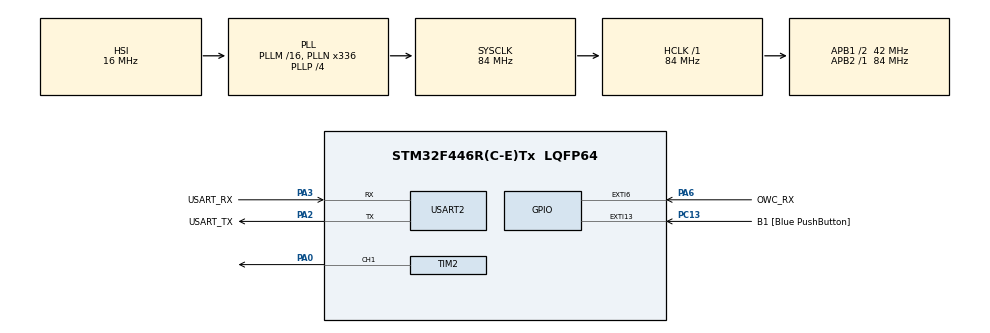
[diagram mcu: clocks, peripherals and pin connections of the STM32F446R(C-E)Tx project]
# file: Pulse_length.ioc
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Mcu.Family=STM32F4
Mcu.Name=STM32F446R(C-E)Tx
Mcu.Package=LQFP64
NVIC.EXTI9_5_IRQn=true\:0\:0\:false\:false\:true\:true\:true\:true
NVIC.PriorityGroup=NVIC_PRIORITYGROUP_0
NVIC.TIM4_IRQn=true\:0\:0\:false\:false\:true\:true\:true\:true
NVIC.TIM6_DAC_IRQn=true\:0\:0\:false\:false\:true\:true\:true\:true
PA0-WKUP.Signal=S_TIM2_CH1_ETR
PA13.GPIO_Label=TMS
PA13.Mode=Serial_Wire
PA13.Signal=SYS_JTMS-SWDIO
PA14.GPIO_Label=TCK
PA14.Mode=Serial_Wire
PA14.Signal=SYS_JTCK-SWCLK
PA2.GPIO_Label=USART_TX
PA2.Mode=Asynchronous
PA2.Signal=USART2_TX
PA3.GPIO_Label=USART_RX
PA3.Mode=Asynchronous
PA3.Signal=USART2_RX
PA6.GPIO_Label=OWC_RX
PA6.GPIO_ModeDefaultEXTI=GPIO_MODE_IT_RISING_FALLING
PA6.GPIO_PuPd=GPIO_PULLUP
PA6.Signal=GPXTI6
PB3.GPIO_Label=SWO
PB3.Signal=SYS_JTDO-SWO
PC13.GPIO_Label=B1 [Blue PushButton]
PC13.GPIO_ModeDefaultEXTI=GPIO_MODE_IT_FALLING
PC13.Signal=GPXTI13
PC14-OSC32_IN.Mode=LSE-External-Oscillator
PC14-OSC32_IN.Signal=RCC_OSC32_IN
PC15-OSC32_OUT.Mode=LSE-External-Oscillator
PC15-OSC32_OUT.Signal=RCC_OSC32_OUT
PH0-OSC_IN.Mode=HSE-External-Oscillator
PH0-OSC_IN.Signal=RCC_OSC_IN
PH1-OSC_OUT.Mode=HSE-External-Oscillator
PH1-OSC_OUT.Signal=RCC_OSC_OUT
ProjectManager.HeapSize=0x200
ProjectManager.StackSize=0x400
ProjectManager.TargetToolchain=STM32CubeIDE
RCC.48MHZClocksFreq_Value=84000000
RCC.AHBFreq_Value=84000000
RCC.APB1CLKDivider=RCC_HCLK_DIV2
RCC.APB1Freq_Value=42000000
RCC.APB1TimFreq_Value=84000000
RCC.APB2Freq_Value=84000000
RCC.APB2TimFreq_Value=84000000
RCC.CortexFreq_Value=84000000
RCC.FLatency-AdvancedSettings=FLASH_LATENCY_2
RCC.HCLKFreq_Value=84000000
RCC.HSE_VALUE=8000000
RCC.HSI_VALUE=16000000
RCC.PLLN=336
RCC.PLLP=RCC_PLLP_DIV4
RCC.SYSCLKFreq_VALUE=84000000
RCC.SYSCLKSource=RCC_SYSCLKSOURCE_PLLCLK
RCC.USBFreq_Value=168000000
RCC.VCOOutputFreq_Value=336000000
SH.S_TIM2_CH1_ETR.0=TIM2_CH1,PWM Generation1 CH1
TIM2.Channel-PWM\ Generation1\ CH1=TIM_CHANNEL_1
TIM2.Period=1462 - 1
TIM2.Pulse-PWM\ Generation1\ CH1=146
TIM3.Prescaler=84 - 1
TIM4.Prescaler=84 - 1
TIM6.Period=650
TIM6.Prescaler=84 - 1
USART2.VirtualMode=VM_ASYNC
VP_TIM2_VS_ClockSourceINT.Mode=Internal
VP_TIM3_VS_ClockSourceINT.Mode=Internal
VP_TIM4_VS_ClockSourceINT.Mode=Internal
VP_TIM6_VS_ClockSourceINT.Mode=Enable_Timer
board=NUCLEO-F446RE

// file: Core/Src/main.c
/* USER CODE BEGIN Header */
/**
  ******************************************************************************
  * @file           : main.c
  * @brief          : Main program body
  ******************************************************************************
  * @attention
  *
  * Copyright (c) 2025 STMicroelectronics.
  * All rights reserved.
  *
  * This software is licensed under terms that can be found in the LICENSE file
  * in the root directory of this software component.
  * If no LICENSE file comes with this software, it is provided AS-IS.
  *
  ******************************************************************************
  */
/* USER CODE END Header */
#include "main.h"

/* USER CODE BEGIN Includes */
#include <stdio.h>
#include <stdbool.h>
#include <string.h>
/* USER CODE END Includes */

/* USER CODE BEGIN PTD */
typedef enum{
	STOP_PULSE,
	BIT_PULSE,
	BIT_GAP,
	END_OF_TRANSMISSION
} TX_STATE;

typedef enum{
	RECEIVING,
	TRANSMITTING,
	IDLE,
} OWC_STATE;

typedef struct{
	uint8_t head;
	uint8_t tail;
	uint16_t items[64];
} Queue;
/* USER CODE END PTD */

TIM_HandleTypeDef htim2;
TIM_HandleTypeDef htim3;
TIM_HandleTypeDef htim4;
TIM_HandleTypeDef htim6;

UART_HandleTypeDef huart2;

/* USER CODE BEGIN PV */

static volatile OWC_STATE systemStatus = IDLE;

// ISR variables
static volatile uint8_t triggerCount = 0;
static volatile uint16_t lastTriggerTime = 0;
// RX data variables
static volatile uint8_t rxDataBuffer[280] = {0};
static volatile uint16_t rxDataIndex = 0;
static volatile uint8_t rxBitIndex = 0;
static volatile Queue signalBuffer;
static uint16_t currentSignal;
// TX data variables
static volatile TX_STATE txStatus;
static uint8_t txDataBuffer[280];
static uint16_t txDataLength = 0;
static volatile bool txDataBit = 0;
static volatile uint8_t txBitIndex = 0;
static volatile uint16_t txDataIndex = 0;
static volatile uint16_t txGapLength;

/* USER CODE END PV */

void SystemClock_Config(void);
static void MX_GPIO_Init(void);
static void MX_USART2_UART_Init(void);
static void MX_TIM2_Init(void);
static void MX_TIM3_Init(void);
static void MX_TIM4_Init(void);
static void MX_TIM6_Init(void);
/* USER CODE BEGIN PFP */
static void enqueue_signal(uint16_t);
static void process_signals();
static void owc_transmit(uint8_t* data, uint8_t size);
void reset_rx_state();
/* USER CODE END PFP */

int main(void)
{

  /* USER CODE BEGIN 1 */
	char* msg = "The two CANs are compliant with the 2.0A and B (active) specifications with a bitrate up to 1Mbit/s.";
  /* USER CODE END 1 */

  /* MCU Configuration--------------------------------------------------------*/

  /* Reset of all peripherals, Initializes the Flash interface and the Systick. */
  HAL_Init();

  /* Configure the system clock */
  SystemClock_Config();

  /* Initialize all configured peripherals */
  MX_GPIO_Init();
  MX_USART2_UART_Init();
  MX_TIM2_Init();
  MX_TIM3_Init();
  MX_TIM4_Init();
  MX_TIM6_Init();
  /* USER CODE BEGIN 2 */
  HAL_TIM_Base_Start(&htim3);
  /* USER CODE END 2 */

  /* Infinite loop */
  /* USER CODE BEGIN WHILE */
  while (1)
  {

	  if(systemStatus == RECEIVING){
		  process_signals();
	  }

//	  if(systemStatus != TRANSMITTING){
//		  HAL_Delay(1000);
//		  owc_transmit(msg, strlen(msg));
//	  }

    /* USER CODE END WHILE */

  }
}

void SystemClock_Config(void)
{
  RCC_OscInitTypeDef RCC_OscInitStruct = {0};
  RCC_ClkInitTypeDef RCC_ClkInitStruct = {0};

  /** Configure the main internal regulator output voltage
  */
  __HAL_RCC_PWR_CLK_ENABLE();
  __HAL_PWR_VOLTAGESCALING_CONFIG(PWR_REGULATOR_VOLTAGE_SCALE3);

  /** Initializes the RCC Oscillators according to the specified parameters
  * in the RCC_OscInitTypeDef structure.
  */
  RCC_OscInitStruct.OscillatorType = RCC_OSCILLATORTYPE_HSI;
  RCC_OscInitStruct.HSIState = RCC_HSI_ON;
  RCC_OscInitStruct.HSICalibrationValue = RCC_HSICALIBRATION_DEFAULT;
  RCC_OscInitStruct.PLL.PLLState = RCC_PLL_ON;
  RCC_OscInitStruct.PLL.PLLSource = RCC_PLLSOURCE_HSI;
  RCC_OscInitStruct.PLL.PLLM = 16;
  RCC_OscInitStruct.PLL.PLLN = 336;
  RCC_OscInitStruct.PLL.PLLP = RCC_PLLP_DIV4;
  RCC_OscInitStruct.PLL.PLLQ = 2;
  RCC_OscInitStruct.PLL.PLLR = 2;
  if (HAL_RCC_OscConfig(&RCC_OscInitStruct) != HAL_OK)
  {
    Error_Handler();
  }

  /** Initializes the CPU, AHB and APB buses clocks
  */
  RCC_ClkInitStruct.ClockType = RCC_CLOCKTYPE_HCLK|RCC_CLOCKTYPE_SYSCLK
                              |RCC_CLOCKTYPE_PCLK1|RCC_CLOCKTYPE_PCLK2;
  RCC_ClkInitStruct.SYSCLKSource = RCC_SYSCLKSOURCE_PLLCLK;
  RCC_ClkInitStruct.AHBCLKDivider = RCC_SYSCLK_DIV1;
  RCC_ClkInitStruct.APB1CLKDivider = RCC_HCLK_DIV2;
  RCC_ClkInitStruct.APB2CLKDivider = RCC_HCLK_DIV1;

  if (HAL_RCC_ClockConfig(&RCC_ClkInitStruct, FLASH_LATENCY_2) != HAL_OK)
  {
    Error_Handler();
  }
}

static void MX_TIM2_Init(void)
{

  TIM_ClockConfigTypeDef sClockSourceConfig = {0};
  TIM_MasterConfigTypeDef sMasterConfig = {0};
  TIM_OC_InitTypeDef sConfigOC = {0};

  htim2.Instance = TIM2;
  htim2.Init.Prescaler = 0;
  htim2.Init.CounterMode = TIM_COUNTERMODE_UP;
  htim2.Init.Period = 1462 - 1;
  htim2.Init.ClockDivision = TIM_CLOCKDIVISION_DIV1;
  htim2.Init.AutoReloadPreload = TIM_AUTORELOAD_PRELOAD_DISABLE;
  if (HAL_TIM_Base_Init(&htim2) != HAL_OK)
  {
    Error_Handler();
  }
  sClockSourceConfig.ClockSource = TIM_CLOCKSOURCE_INTERNAL;
  if (HAL_TIM_ConfigClockSource(&htim2, &sClockSourceConfig) != HAL_OK)
  {
    Error_Handler();
  }
  if (HAL_TIM_PWM_Init(&htim2) != HAL_OK)
  {
    Error_Handler();
  }
  sMasterConfig.MasterOutputTrigger = TIM_TRGO_RESET;
  sMasterConfig.MasterSlaveMode = TIM_MASTERSLAVEMODE_DISABLE;
  if (HAL_TIMEx_MasterConfigSynchronization(&htim2, &sMasterConfig) != HAL_OK)
  {
    Error_Handler();
  }
  sConfigOC.OCMode = TIM_OCMODE_PWM1;
  sConfigOC.Pulse = 146;
  sConfigOC.OCPolarity = TIM_OCPOLARITY_HIGH;
  sConfigOC.OCFastMode = TIM_OCFAST_DISABLE;
  if (HAL_TIM_PWM_ConfigChannel(&htim2, &sConfigOC, TIM_CHANNEL_1) != HAL_OK)
  {
    Error_Handler();
  }
  HAL_TIM_MspPostInit(&htim2);

}

static void MX_TIM3_Init(void)
{

  TIM_ClockConfigTypeDef sClockSourceConfig = {0};
  TIM_MasterConfigTypeDef sMasterConfig = {0};

  htim3.Instance = TIM3;
  htim3.Init.Prescaler = 84 - 1;
  htim3.Init.CounterMode = TIM_COUNTERMODE_UP;
  htim3.Init.Period = 65535;
  htim3.Init.ClockDivision = TIM_CLOCKDIVISION_DIV1;
  htim3.Init.AutoReloadPreload = TIM_AUTORELOAD_PRELOAD_DISABLE;
  if (HAL_TIM_Base_Init(&htim3) != HAL_OK)
  {
    Error_Handler();
  }
  sClockSourceConfig.ClockSource = TIM_CLOCKSOURCE_INTERNAL;
  if (HAL_TIM_ConfigClockSource(&htim3, &sClockSourceConfig) != HAL_OK)
  {
    Error_Handler();
  }
  sMasterConfig.MasterOutputTrigger = TIM_TRGO_RESET;
  sMasterConfig.MasterSlaveMode = TIM_MASTERSLAVEMODE_DISABLE;
  if (HAL_TIMEx_MasterConfigSynchronization(&htim3, &sMasterConfig) != HAL_OK)
  {
    Error_Handler();
  }

}

static void MX_TIM4_Init(void)
{

  TIM_ClockConfigTypeDef sClockSourceConfig = {0};
  TIM_MasterConfigTypeDef sMasterConfig = {0};

  htim4.Instance = TIM4;
  htim4.Init.Prescaler = 84 - 1;
  htim4.Init.CounterMode = TIM_COUNTERMODE_UP;
  htim4.Init.Period = 65535;
  htim4.Init.ClockDivision = TIM_CLOCKDIVISION_DIV1;
  htim4.Init.AutoReloadPreload = TIM_AUTORELOAD_PRELOAD_DISABLE;
  if (HAL_TIM_Base_Init(&htim4) != HAL_OK)
  {
    Error_Handler();
  }
  sClockSourceConfig.ClockSource = TIM_CLOCKSOURCE_INTERNAL;
  if (HAL_TIM_ConfigClockSource(&htim4, &sClockSourceConfig) != HAL_OK)
  {
    Error_Handler();
  }
  sMasterConfig.MasterOutputTrigger = TIM_TRGO_RESET;
  sMasterConfig.MasterSlaveMode = TIM_MASTERSLAVEMODE_DISABLE;
  if (HAL_TIMEx_MasterConfigSynchronization(&htim4, &sMasterConfig) != HAL_OK)
  {
    Error_Handler();
  }

}

static void MX_TIM6_Init(void)
{

  TIM_MasterConfigTypeDef sMasterConfig = {0};

  htim6.Instance = TIM6;
  htim6.Init.Prescaler = 84 - 1;
  htim6.Init.CounterMode = TIM_COUNTERMODE_UP;
  htim6.Init.Period = 650;
  htim6.Init.AutoReloadPreload = TIM_AUTORELOAD_PRELOAD_DISABLE;
  if (HAL_TIM_Base_Init(&htim6) != HAL_OK)
  {
    Error_Handler();
  }
  sMasterConfig.MasterOutputTrigger = TIM_TRGO_RESET;
  sMasterConfig.MasterSlaveMode = TIM_MASTERSLAVEMODE_DISABLE;
  if (HAL_TIMEx_MasterConfigSynchronization(&htim6, &sMasterConfig) != HAL_OK)
  {
    Error_Handler();
  }

}

static void MX_USART2_UART_Init(void)
{

  huart2.Instance = USART2;
  huart2.Init.BaudRate = 115200;
  huart2.Init.WordLength = UART_WORDLENGTH_8B;
  huart2.Init.StopBits = UART_STOPBITS_1;
  huart2.Init.Parity = UART_PARITY_NONE;
  huart2.Init.Mode = UART_MODE_TX_RX;
  huart2.Init.HwFlowCtl = UART_HWCONTROL_NONE;
  huart2.Init.OverSampling = UART_OVERSAMPLING_16;
  if (HAL_UART_Init(&huart2) != HAL_OK)
  {
    Error_Handler();
  }

}

static void MX_GPIO_Init(void)
{
  GPIO_InitTypeDef GPIO_InitStruct = {0};

  /* GPIO Ports Clock Enable */
  __HAL_RCC_GPIOC_CLK_ENABLE();
  __HAL_RCC_GPIOH_CLK_ENABLE();
  __HAL_RCC_GPIOA_CLK_ENABLE();
  __HAL_RCC_GPIOB_CLK_ENABLE();

  /*Configure GPIO pin : B1_Pin */
  GPIO_InitStruct.Pin = B1_Pin;
  GPIO_InitStruct.Mode = GPIO_MODE_IT_FALLING;
  GPIO_InitStruct.Pull = GPIO_NOPULL;
  HAL_GPIO_Init(B1_GPIO_Port, &GPIO_InitStruct);

  /*Configure GPIO pin : OWC_RX_Pin */
  GPIO_InitStruct.Pin = OWC_RX_Pin;
  GPIO_InitStruct.Mode = GPIO_MODE_IT_RISING_FALLING;
  GPIO_InitStruct.Pull = GPIO_PULLUP;
  HAL_GPIO_Init(OWC_RX_GPIO_Port, &GPIO_InitStruct);

  /* EXTI interrupt init*/
  HAL_NVIC_SetPriority(EXTI9_5_IRQn, 0, 0);
  HAL_NVIC_EnableIRQ(EXTI9_5_IRQn);

}

/* USER CODE BEGIN 4 */

static void owc_transmit(uint8_t* data, uint8_t size){

	systemStatus = TRANSMITTING;
	memcpy(txDataBuffer, data, size);
	txDataLength = size;

	// Send start symbol
	HAL_TIM_PWM_Start(&htim2, TIM_CHANNEL_1);
	__HAL_TIM_SET_AUTORELOAD(&htim4, 500);
	__HAL_TIM_SET_COUNTER(&htim4, 0);
	HAL_TIM_Base_Start_IT(&htim4);

	txStatus = BIT_PULSE;

}

static void enqueue_signal(uint16_t signal){

	uint8_t nextindex = (signalBuffer.head + 1) % 64;

	signalBuffer.items[signalBuffer.head] = signal;
	signalBuffer.head = nextindex;

}

static void process_signals(){

	while(signalBuffer.head != signalBuffer.tail){

		currentSignal = signalBuffer.items[signalBuffer.tail];

		if(currentSignal == 1000){

			printf("Received: %s\n\r", rxDataBuffer);
			reset_rx_state();
			return;
		}

		if(rxBitIndex >= 8){
			rxDataIndex++;
			rxBitIndex = 0;
			continue;
		}

		bool bitValue = currentSignal <= 200 ? 1 : 0;
		rxDataBuffer[rxDataIndex] |= bitValue ? (0x80 >> rxBitIndex) : 0;
		uint8_t nextBufferIndex = (signalBuffer.tail + 1) % 64;
		signalBuffer.tail = nextBufferIndex;
		rxBitIndex++;
	}
}

void reset_rx_state(){

	systemStatus = IDLE;
	rxBitIndex = 0;
	rxDataIndex = 0;
	triggerCount = 0;
	currentSignal = 0;
	signalBuffer.head = 0;
	signalBuffer.tail = 0;
	memset(rxDataBuffer, 0, 280);
	memset(signalBuffer.items, 0, 64);

}

void HAL_GPIO_EXTI_Callback(uint16_t GPIO_Pin){

	uint16_t timeStamp =  __HAL_TIM_GET_COUNTER(&htim3);
	uint16_t deltaTime = timeStamp - lastTriggerTime;
	lastTriggerTime = timeStamp;
	triggerCount++;

	// Start of pulse
	if(triggerCount < 2){
		return;
	}

	// End of gap period
	if(triggerCount >= 3){
		HAL_TIM_Base_Stop_IT(&htim6);
		enqueue_signal(deltaTime);
		triggerCount = 1;
		return;
	}

	// End of pulse period ------------------
	if(systemStatus == IDLE && (deltaTime >= 500 && deltaTime <= 750)){
	    systemStatus = RECEIVING;
	    __HAL_TIM_SET_COUNTER(&htim6, 0);
	    HAL_TIM_Base_Start_IT(&htim6);
	    return;
	}

	if(systemStatus == RECEIVING && (deltaTime >= 800)){
		HAL_TIM_Base_Stop_IT(&htim6);
		enqueue_signal(1000);
		return;
	}
	else{
		__HAL_TIM_SET_COUNTER(&htim6, 0);
		HAL_TIM_Base_Start_IT(&htim6);
	}
	// End of pulse period --------------------

}

void HAL_TIM_PeriodElapsedCallback(TIM_HandleTypeDef *htim){

	if(htim == &htim6){
		HAL_TIM_Base_Stop_IT(&htim6);
		reset_rx_state();
		//printf("Packet Dropped!\n\r");
		return;
	}

	switch(txStatus){

	case STOP_PULSE:

		__HAL_TIM_SET_AUTORELOAD(&htim4, 1000 - 1);
		HAL_TIM_PWM_Start(&htim2, TIM_CHANNEL_1);
		__HAL_TIM_SET_COUNTER(&htim4, 0);
		txStatus = END_OF_TRANSMISSION;

		break;

	case BIT_PULSE:

		__HAL_TIM_SET_AUTORELOAD(&htim4, 150 - 1);
		HAL_TIM_PWM_Start(&htim2, TIM_CHANNEL_1);
		__HAL_TIM_SET_COUNTER(&htim4, 0);

		txDataBit = txDataBuffer[txDataIndex] & (0x80 >> txBitIndex);
		txGapLength = txDataBit ? 104 : 327;
		txStatus = BIT_GAP;

		break;

	case BIT_GAP:

		HAL_TIM_PWM_Stop(&htim2, TIM_CHANNEL_1);
		__HAL_TIM_SET_AUTORELOAD(&htim4, txGapLength - 1);
		__HAL_TIM_SET_COUNTER(&htim4, 0);
		txStatus = BIT_PULSE;
		txBitIndex++;

		if(txBitIndex >= 8){
			txBitIndex = 0;
			txDataIndex++;
		}
		if(txDataIndex >= txDataLength){
			txStatus = STOP_PULSE;
		}

		break;

	default:

		HAL_TIM_PWM_Stop(&htim2, TIM_CHANNEL_1);
		HAL_TIM_Base_Stop_IT(&htim4);
		txBitIndex = 0;
		txDataIndex = 0;
		txDataBit = 0;
		txDataLength = 0;
		systemStatus = IDLE;
		return;

	}

}

int _write(int file, char *ptr, int len)
{
  (void)file;
  int DataIdx;

  for (DataIdx = 0; DataIdx < len; DataIdx++)
  {
   ITM_SendChar(*ptr++);
  }
  return len;
}

/* USER CODE END 4 */

void Error_Handler(void)
{
  __disable_irq();
  while (1)
  {
  }
}
